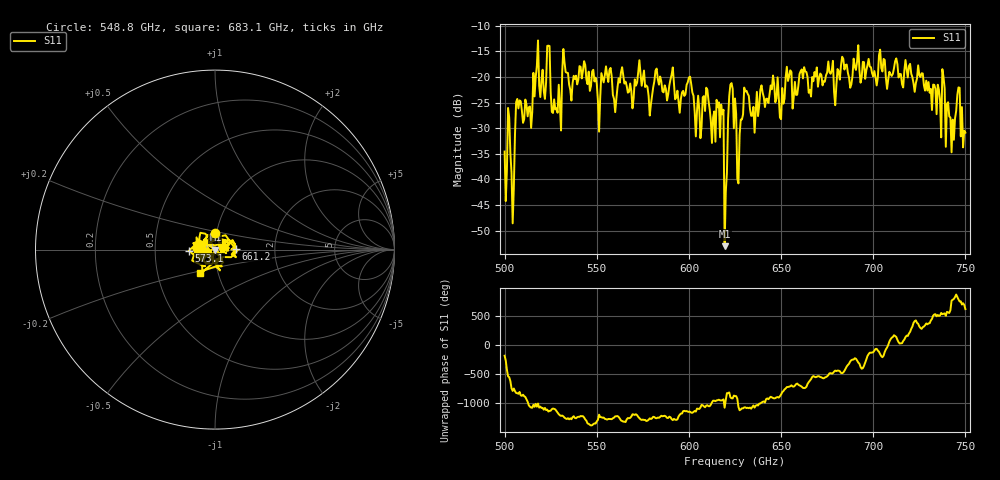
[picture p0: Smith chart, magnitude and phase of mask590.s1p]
!Created with skrf (http://scikit-rf.org).
# GHz S MA R 50.0
!freq magS11 angS11
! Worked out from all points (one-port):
!   401 points, 500 GHz to 750 GHz, reference 50 ohm
!   lowest |S11| = -53.0 dB at 619.4 GHz (marker M1), VSWR 1.00, Z = 50.2 + j0.00326 ohm
!   |S11| at or under -10 dB: start of sweep to end of sweep
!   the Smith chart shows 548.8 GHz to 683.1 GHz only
!   S11 on the Smith chart (normalised r, x): 548.8 GHz: 0.99, +0.18; 573.1 GHz: 0.75, -0.01; 661.2 GHz: 1.27, +0.02; 683.1 GHz: 0.82, -0.22
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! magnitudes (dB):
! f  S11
! 500 GHz  -34.6
! 502.5 GHz  -27.9
! 504.4 GHz  -48.6
! 507.5 GHz  -26.2
! 513.8 GHz  -25.8
! 516.9 GHz  -20.1
! 523.8 GHz  -13.9
! 526.9 GHz  -24.4
! 531.2 GHz  -19.0
! 548.8 GHz  -20.9
! 562.5 GHz  -21.1
! 573.1 GHz  -16.8
! 593.8 GHz  -22.7
! 616.2 GHz  -25.0
! 619.4 GHz  -53.0
! 620.6 GHz  -38.6
! 622.5 GHz  -21.5
! 625 GHz  -24.2
! 627.5 GHz  -31.3
! 631.2 GHz  -22.7
! 656.2 GHz  -26.2
! 661.2 GHz  -18.5
! 683.1 GHz  -16.1
! 687.5 GHz  -22.1
! 718.8 GHz  -20.1
! 742.5 GHz  -34.7
! 745.6 GHz  -23.5
! 750 GHz  -30.9
